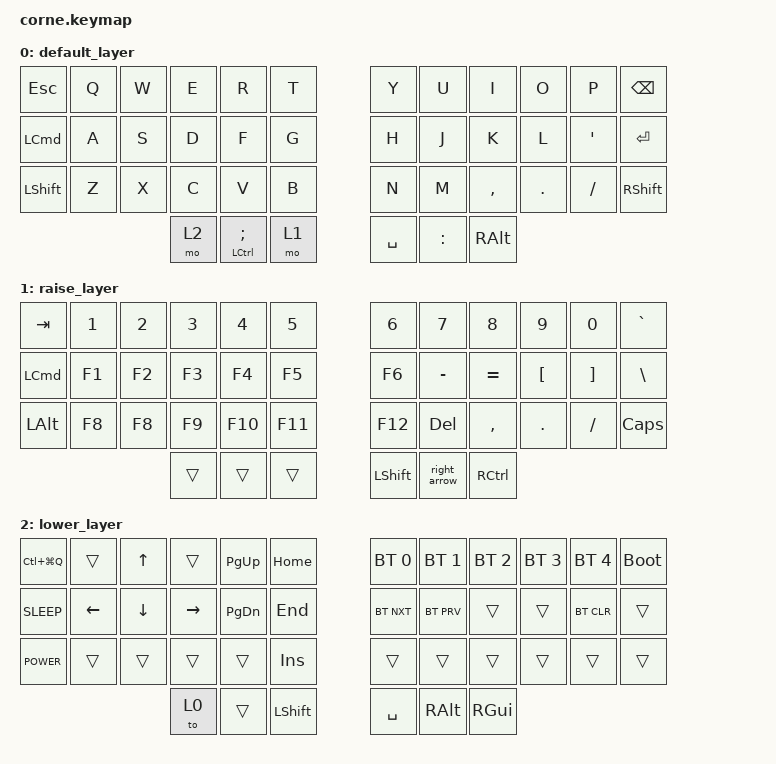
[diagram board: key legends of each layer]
/*
 * Copyright (c) 2020 The ZMK Contributors
 *
 * SPDX-License-Identifier: MIT
 */

#include <behaviors.dtsi>
#include <dt-bindings/zmk/bt.h>
#include <dt-bindings/zmk/keys.h>

/ {
    behaviors {
        ht: ht {
            compatible = "zmk,behavior-hold-tap";
            label = "HT";
            bindings = <&kp>, <&kp>;

            #binding-cells = <2>;
            hold-trigger-key-positions = <37>;
            flavor = "tap-preferred";
            tapping-term-ms = <160>;
        };
    };

    macros {
        right_arrow: right_arrow {
            compatible = "zmk,behavior-macro";
            #binding-cells = <0>;
            bindings = <&kp EQUAL &kp GT>;
            label = "RIGHT_ARROW";
        };
    };

    keymap {
        compatible = "zmk,keymap";

        default_layer {
            // -----------------------------------------------------------------------------------------
            // |  TAB |  Q  |  W  |  E  |  R  |  T  |   |  Y  |  U   |  I  |  O  |  P  | BKSP |
            // | CTRL |  A  |  S  |  D  |  F  |  G  |   |  H  |  J   |  K  |  L  |  ;  |  '   |
            // | SHFT |  Z  |  X  |  C  |  V  |  B  |   |  N  |  M   |  ,  |  .  |  /  | ESC  |
            //                    | GUI | LWR | SPC |   | ENT | RSE  | ALT |

            bindings = <
&kp ESCAPE        &kp Q  &kp W  &kp E  &kp R                       &kp T    &kp Y      &kp U      &kp I          &kp O    &kp P     &kp BSPC
&kp LEFT_COMMAND  &kp A  &kp S  &kp D  &kp F                       &kp G    &kp H      &kp J      &kp K          &kp L    &kp SQT   &kp RETURN
&kp LEFT_SHIFT    &kp Z  &kp X  &kp C  &kp V                       &kp B    &kp N      &kp M      &kp COMMA      &kp DOT  &kp FSLH  &kp RIGHT_SHIFT
                                &mo 2  &ht LEFT_CONTROL SEMICOLON  &mo 1    &kp SPACE  &kp COLON  &kp RIGHT_ALT
            >;
        };

        raise_layer {
            // -----------------------------------------------------------------------------------------
            // |  TAB |  !  |  @  |  #  |  $  |  %  |   |  ^  |  &  |  *  |  (  |  )  | BKSP |
            // | CTRL |     |     |     |     |     |   |  -  |  =  |  [  |  ]  |  \  |  `   |
            // | SHFT |     |     |     |     |     |   |  _  |  +  |  {  |  }  | "|" |  ~   |
            //                    | GUI |     | SPC |   | ENT |     | ALT |

            bindings = <
&kp TAB           &kp NUMBER_1  &kp NUMBER_2  &kp NUMBER_3  &kp NUMBER_4  &kp NUMBER_5    &kp NUMBER_6    &kp NUMBER_7  &kp NUMBER_8       &kp N9            &kp N0             &kp GRAVE
&kp LEFT_COMMAND  &kp F1        &kp F2        &kp F3        &kp F4        &kp F5          &kp F6          &kp MINUS     &kp EQUAL          &kp LEFT_BRACKET  &kp RIGHT_BRACKET  &kp BACKSLASH
&kp LEFT_ALT      &kp F8        &kp F8        &kp F9        &kp F10       &kp F11         &kp F12         &kp DELETE    &kp COMMA          &kp PERIOD        &kp SLASH          &kp CAPSLOCK
                                              &trans        &trans        &trans          &kp LEFT_SHIFT  &right_arrow  &kp RIGHT_CONTROL
            >;
        };

        lower_layer {
            // -----------------------------------------------------------------------------------------
            // |  TAB |  1  |  2  |  3  |  4  |  5  |   |  6  |  7  |  8  |  9  |  0  | BKSP |
            // | BTCLR| BT1 | BT2 | BT3 | BT4 | BT5 |   | LFT | DWN |  UP | RGT |     |      |
            // | SHFT |     |     |     |     |     |   |     |     |     |     |     |      |
            //                    | GUI |     | SPC |   | ENT |     | ALT |

            bindings = <
&kp LC(LG(Q))  &trans    &kp UP_ARROW  &trans     &kp PG_UP      &kp HOME      &bt BT_SEL 0  &bt BT_SEL 1   &bt BT_SEL 2   &bt BT_SEL 3  &bt BT_SEL 4  &bootloader
&kp K_SLEEP    &kp LEFT  &kp DOWN      &kp RIGHT  &kp PAGE_DOWN  &kp END       &bt BT_NXT    &bt BT_PRV     &trans         &trans        &bt BT_CLR    &trans
&kp K_POWER    &trans    &trans        &trans     &trans         &kp INSERT    &trans        &trans         &trans         &trans        &trans        &trans
                                       &to 0      &trans         &kp LSHIFT    &kp SPACE     &kp RIGHT_ALT  &kp RIGHT_GUI
            >;
        };
    };
};
